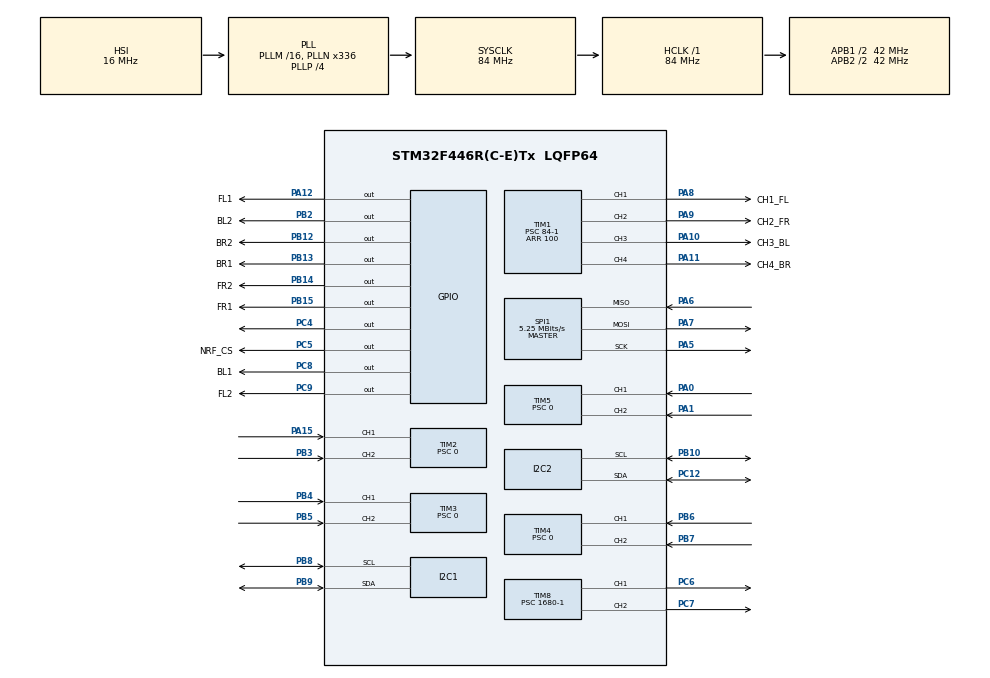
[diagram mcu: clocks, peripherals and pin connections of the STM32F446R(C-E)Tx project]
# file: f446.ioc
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Dma.I2C1_TX.7.Direction=DMA_MEMORY_TO_PERIPH
Dma.I2C1_TX.7.FIFOMode=DMA_FIFOMODE_DISABLE
Dma.I2C1_TX.7.Instance=DMA1_Stream6
Dma.I2C1_TX.7.MemDataAlignment=DMA_MDATAALIGN_BYTE
Dma.I2C1_TX.7.MemInc=DMA_MINC_ENABLE
Dma.I2C1_TX.7.Mode=DMA_NORMAL
Dma.I2C1_TX.7.PeriphDataAlignment=DMA_PDATAALIGN_BYTE
Dma.I2C1_TX.7.PeriphInc=DMA_PINC_DISABLE
Dma.I2C1_TX.7.Priority=DMA_PRIORITY_LOW
Dma.I2C2_TX.8.Direction=DMA_MEMORY_TO_PERIPH
Dma.I2C2_TX.8.FIFOMode=DMA_FIFOMODE_DISABLE
Dma.I2C2_TX.8.Instance=DMA1_Stream7
Dma.I2C2_TX.8.MemDataAlignment=DMA_MDATAALIGN_BYTE
Dma.I2C2_TX.8.MemInc=DMA_MINC_ENABLE
Dma.I2C2_TX.8.Mode=DMA_NORMAL
Dma.I2C2_TX.8.PeriphDataAlignment=DMA_PDATAALIGN_BYTE
Dma.I2C2_TX.8.PeriphInc=DMA_PINC_DISABLE
Dma.I2C2_TX.8.Priority=DMA_PRIORITY_LOW
Dma.Request0=TIM1_CH1
Dma.Request1=TIM1_CH2
Dma.Request2=TIM1_CH3
Dma.Request3=TIM1_CH4/TRIG/COM
Dma.Request4=SPI1_RX
Dma.Request5=SPI1_TX
Dma.Request6=TIM8_CH2
Dma.Request7=I2C1_TX
Dma.Request8=I2C2_TX
Dma.SPI1_RX.4.Direction=DMA_PERIPH_TO_MEMORY
Dma.SPI1_RX.4.FIFOMode=DMA_FIFOMODE_DISABLE
Dma.SPI1_RX.4.Instance=DMA2_Stream0
Dma.SPI1_RX.4.MemDataAlignment=DMA_MDATAALIGN_BYTE
Dma.SPI1_RX.4.MemInc=DMA_MINC_ENABLE
Dma.SPI1_RX.4.Mode=DMA_NORMAL
Dma.SPI1_RX.4.PeriphDataAlignment=DMA_PDATAALIGN_BYTE
Dma.SPI1_RX.4.PeriphInc=DMA_PINC_DISABLE
Dma.SPI1_RX.4.Priority=DMA_PRIORITY_LOW
Dma.SPI1_TX.5.Direction=DMA_MEMORY_TO_PERIPH
Dma.SPI1_TX.5.FIFOMode=DMA_FIFOMODE_DISABLE
Dma.SPI1_TX.5.Instance=DMA2_Stream5
Dma.SPI1_TX.5.MemDataAlignment=DMA_MDATAALIGN_BYTE
Dma.SPI1_TX.5.MemInc=DMA_MINC_ENABLE
Dma.SPI1_TX.5.Mode=DMA_NORMAL
Dma.SPI1_TX.5.PeriphDataAlignment=DMA_PDATAALIGN_BYTE
Dma.SPI1_TX.5.PeriphInc=DMA_PINC_DISABLE
Dma.SPI1_TX.5.Priority=DMA_PRIORITY_LOW
Dma.TIM1_CH1.0.Direction=DMA_MEMORY_TO_PERIPH
Dma.TIM1_CH1.0.FIFOMode=DMA_FIFOMODE_DISABLE
Dma.TIM1_CH1.0.Instance=DMA2_Stream1
Dma.TIM1_CH1.0.MemDataAlignment=DMA_MDATAALIGN_HALFWORD
Dma.TIM1_CH1.0.MemInc=DMA_MINC_ENABLE
Dma.TIM1_CH1.0.Mode=DMA_NORMAL
Dma.TIM1_CH1.0.PeriphDataAlignment=DMA_PDATAALIGN_HALFWORD
Dma.TIM1_CH1.0.PeriphInc=DMA_PINC_DISABLE
Dma.TIM1_CH1.0.Priority=DMA_PRIORITY_LOW
Dma.TIM1_CH2.1.Direction=DMA_MEMORY_TO_PERIPH
Dma.TIM1_CH2.1.FIFOMode=DMA_FIFOMODE_DISABLE
Dma.TIM1_CH2.1.Instance=DMA2_Stream2
Dma.TIM1_CH2.1.MemDataAlignment=DMA_MDATAALIGN_HALFWORD
Dma.TIM1_CH2.1.MemInc=DMA_MINC_ENABLE
Dma.TIM1_CH2.1.Mode=DMA_NORMAL
Dma.TIM1_CH2.1.PeriphDataAlignment=DMA_PDATAALIGN_HALFWORD
Dma.TIM1_CH2.1.PeriphInc=DMA_PINC_DISABLE
Dma.TIM1_CH2.1.Priority=DMA_PRIORITY_LOW
Dma.TIM1_CH3.2.Direction=DMA_MEMORY_TO_PERIPH
Dma.TIM1_CH3.2.FIFOMode=DMA_FIFOMODE_DISABLE
Dma.TIM1_CH3.2.Instance=DMA2_Stream6
Dma.TIM1_CH3.2.MemDataAlignment=DMA_MDATAALIGN_HALFWORD
Dma.TIM1_CH3.2.MemInc=DMA_MINC_ENABLE
Dma.TIM1_CH3.2.Mode=DMA_NORMAL
Dma.TIM1_CH3.2.PeriphDataAlignment=DMA_PDATAALIGN_HALFWORD
Dma.TIM1_CH3.2.PeriphInc=DMA_PINC_DISABLE
Dma.TIM1_CH3.2.Priority=DMA_PRIORITY_LOW
Dma.TIM1_CH4/TRIG/COM.3.Direction=DMA_MEMORY_TO_PERIPH
Dma.TIM1_CH4/TRIG/COM.3.FIFOMode=DMA_FIFOMODE_DISABLE
Dma.TIM1_CH4/TRIG/COM.3.Instance=DMA2_Stream4
Dma.TIM1_CH4/TRIG/COM.3.MemDataAlignment=DMA_MDATAALIGN_HALFWORD
Dma.TIM1_CH4/TRIG/COM.3.MemInc=DMA_MINC_ENABLE
Dma.TIM1_CH4/TRIG/COM.3.Mode=DMA_NORMAL
Dma.TIM1_CH4/TRIG/COM.3.PeriphDataAlignment=DMA_PDATAALIGN_HALFWORD
Dma.TIM1_CH4/TRIG/COM.3.PeriphInc=DMA_PINC_DISABLE
Dma.TIM1_CH4/TRIG/COM.3.Priority=DMA_PRIORITY_LOW
Dma.TIM8_CH2.6.Direction=DMA_MEMORY_TO_PERIPH
Dma.TIM8_CH2.6.FIFOMode=DMA_FIFOMODE_DISABLE
Dma.TIM8_CH2.6.Instance=DMA2_Stream3
Dma.TIM8_CH2.6.MemDataAlignment=DMA_MDATAALIGN_HALFWORD
Dma.TIM8_CH2.6.MemInc=DMA_MINC_ENABLE
Dma.TIM8_CH2.6.Mode=DMA_NORMAL
Dma.TIM8_CH2.6.PeriphDataAlignment=DMA_PDATAALIGN_HALFWORD
Dma.TIM8_CH2.6.PeriphInc=DMA_PINC_DISABLE
Dma.TIM8_CH2.6.Priority=DMA_PRIORITY_LOW
Mcu.Family=STM32F4
Mcu.Name=STM32F446R(C-E)Tx
Mcu.Package=LQFP64
NVIC.DMA1_Stream6_IRQn=true\:0\:0\:false\:false\:true\:false\:true
NVIC.DMA1_Stream7_IRQn=true\:0\:0\:false\:false\:true\:false\:true
NVIC.DMA2_Stream0_IRQn=true\:0\:0\:false\:false\:true\:false\:true
NVIC.DMA2_Stream1_IRQn=true\:0\:0\:false\:false\:true\:false\:true
NVIC.DMA2_Stream2_IRQn=true\:0\:0\:false\:false\:true\:false\:true
NVIC.DMA2_Stream3_IRQn=true\:0\:0\:false\:false\:true\:false\:true
NVIC.DMA2_Stream4_IRQn=true\:0\:0\:false\:false\:true\:false\:true
NVIC.DMA2_Stream5_IRQn=true\:0\:0\:false\:false\:true\:false\:true
NVIC.DMA2_Stream6_IRQn=true\:0\:0\:false\:false\:true\:false\:true
NVIC.I2C2_ER_IRQn=true\:0\:0\:false\:false\:true\:true\:true
NVIC.I2C2_EV_IRQn=true\:0\:0\:false\:false\:true\:true\:true
NVIC.PriorityGroup=NVIC_PRIORITYGROUP_0
NVIC.TIM5_IRQn=true\:0\:0\:false\:false\:true\:true\:true
PA0-WKUP.Signal=S_TIM5_CH1
PA1.Signal=S_TIM5_CH2
PA10.GPIO_Label=CH3_BL
PA10.Signal=S_TIM1_CH3
PA11.GPIO_Label=CH4_BR
PA11.Signal=S_TIM1_CH4
PA12.GPIO_Label=FL1
PA12.Signal=GPIO_Output
PA13.Mode=Serial_Wire
PA13.Signal=SYS_JTMS-SWDIO
PA14.Mode=Serial_Wire
PA14.Signal=SYS_JTCK-SWCLK
PA15.Signal=S_TIM2_CH1_ETR
PA5.Mode=Full_Duplex_Master
PA5.Signal=SPI1_SCK
PA6.Mode=Full_Duplex_Master
PA6.Signal=SPI1_MISO
PA7.Mode=Full_Duplex_Master
PA7.Signal=SPI1_MOSI
PA8.GPIO_Label=CH1_FL
PA8.Signal=S_TIM1_CH1
PA9.GPIO_Label=CH2_FR
PA9.Signal=S_TIM1_CH2
PB10.Mode=I2C
PB10.Signal=I2C2_SCL
PB12.GPIO_Label=BR2
PB12.Signal=GPIO_Output
PB13.GPIO_Label=BR1
PB13.Signal=GPIO_Output
PB14.GPIO_Label=FR2
PB14.Signal=GPIO_Output
PB15.GPIO_Label=FR1
PB15.Signal=GPIO_Output
PB2.GPIO_Label=BL2
PB2.Signal=GPIO_Output
PB3.Signal=S_TIM2_CH2
PB4.Signal=S_TIM3_CH1
PB5.Signal=S_TIM3_CH2
PB6.Signal=S_TIM4_CH1
PB7.Signal=S_TIM4_CH2
PB8.Mode=I2C
PB8.Signal=I2C1_SCL
PB9.Mode=I2C
PB9.Signal=I2C1_SDA
PC12.Mode=I2C
PC12.Signal=I2C2_SDA
PC4.Signal=GPIO_Output
PC5.GPIO_Label=NRF_CS
PC5.Signal=GPIO_Output
PC6.Signal=S_TIM8_CH1
PC7.Signal=S_TIM8_CH2
PC8.GPIO_Label=BL1
PC8.Signal=GPIO_Output
PC9.GPIO_Label=FL2
PC9.Signal=GPIO_Output
ProjectManager.HeapSize=0x200
ProjectManager.StackSize=0x400
ProjectManager.TargetToolchain=STM32CubeIDE
RCC.48MHZClocksFreq_Value=84000000
RCC.AHBFreq_Value=84000000
RCC.APB1CLKDivider=RCC_HCLK_DIV2
RCC.APB1Freq_Value=42000000
RCC.APB1TimFreq_Value=84000000
RCC.APB2CLKDivider=RCC_HCLK_DIV2
RCC.APB2Freq_Value=42000000
RCC.APB2TimFreq_Value=84000000
RCC.CortexFreq_Value=84000000
RCC.FLatency-AdvancedSettings=FLASH_LATENCY_2
RCC.HCLKFreq_Value=84000000
RCC.HSE_VALUE=8000000
RCC.HSI_VALUE=16000000
RCC.PLLN=336
RCC.PLLP=RCC_PLLP_DIV4
RCC.SYSCLKFreq_VALUE=84000000
RCC.SYSCLKSource=RCC_SYSCLKSOURCE_PLLCLK
RCC.USBFreq_Value=168000000
RCC.VCOOutputFreq_Value=336000000
SH.S_TIM1_CH1.0=TIM1_CH1,PWM Generation1 CH1
SH.S_TIM1_CH2.0=TIM1_CH2,PWM Generation2 CH2
SH.S_TIM1_CH3.0=TIM1_CH3,PWM Generation3 CH3
SH.S_TIM1_CH4.0=TIM1_CH4,PWM Generation4 CH4
SH.S_TIM2_CH1_ETR.0=TIM2_CH1,Encoder_Interface
SH.S_TIM2_CH2.0=TIM2_CH2,Encoder_Interface
SH.S_TIM3_CH1.0=TIM3_CH1,Encoder_Interface
SH.S_TIM3_CH2.0=TIM3_CH2,Encoder_Interface
SH.S_TIM4_CH1.0=TIM4_CH1,Encoder_Interface
SH.S_TIM4_CH2.0=TIM4_CH2,Encoder_Interface
SH.S_TIM5_CH1.0=TIM5_CH1,Encoder_Interface
SH.S_TIM5_CH2.0=TIM5_CH2,Encoder_Interface
SH.S_TIM8_CH1.0=TIM8_CH1,PWM Generation1 CH1
SH.S_TIM8_CH2.0=TIM8_CH2,PWM Generation2 CH2
SPI1.BaudRatePrescaler=SPI_BAUDRATEPRESCALER_8
SPI1.CalculateBaudRate=5.25 MBits/s
SPI1.Direction=SPI_DIRECTION_2LINES
SPI1.Mode=SPI_MODE_MASTER
SPI1.VirtualType=VM_MASTER
TIM1.Channel-PWM\ Generation1\ CH1=TIM_CHANNEL_1
TIM1.Channel-PWM\ Generation2\ CH2=TIM_CHANNEL_2
TIM1.Channel-PWM\ Generation3\ CH3=TIM_CHANNEL_3
TIM1.Channel-PWM\ Generation4\ CH4=TIM_CHANNEL_4
TIM1.Period=100
TIM1.Prescaler=84-1
TIM2.EncoderMode=TIM_ENCODERMODE_TI12
TIM2.IC1Filter=15
TIM2.IC2Filter=15
TIM2.Period=65535
TIM2.Prescaler=0
TIM3.EncoderMode=TIM_ENCODERMODE_TI12
TIM3.IC1Filter=15
TIM3.IC2Filter=15
TIM3.Prescaler=0
TIM4.EncoderMode=TIM_ENCODERMODE_TI12
TIM4.IC1Filter=15
TIM4.IC2Filter=15
TIM4.Prescaler=0
TIM5.EncoderMode=TIM_ENCODERMODE_TI12
TIM5.IC1Filter=15
TIM5.IC2Filter=15
TIM5.Period=65535
TIM5.Prescaler=0
TIM8.Channel-PWM\ Generation1\ CH1=TIM_CHANNEL_1
TIM8.Channel-PWM\ Generation2\ CH2=TIM_CHANNEL_2
TIM8.Period=1000-1
TIM8.Prescaler=1680-1
board=NUCLEO-F446RE

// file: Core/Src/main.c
/* USER CODE BEGIN Header */
/**
 ******************************************************************************
 * @file           : main.c
 * @brief          : Main program body
 ******************************************************************************
 * @attention
 *
 * Copyright (c) 2022 STMicroelectronics.
 * All rights reserved.
 *
 * This software is licensed under terms that can be found in the LICENSE file
 * in the root directory of this software component.
 * If no LICENSE file comes with this software, it is provided AS-IS.
 *
 ******************************************************************************
 */
/* USER CODE END Header */
#include "main.h"

/* USER CODE BEGIN Includes */
#include "NRF24L01.h"
#include "string.h"
#include "package.h"
#include "MotorControl.h"
#include "Kinematics_Mecanum.h"
#include "loop.h"
#include "Encoder.h"
#include "pid.h"
#include "mpu.h"
#include "servo.h"
#include "fonts.h"
#include "ssd1306.h"
#include "ssd1306_defines.h"
/* USER CODE END Includes */

I2C_HandleTypeDef hi2c1;
I2C_HandleTypeDef hi2c2;
DMA_HandleTypeDef hdma_i2c1_tx;
DMA_HandleTypeDef hdma_i2c2_tx;

SPI_HandleTypeDef hspi1;
DMA_HandleTypeDef hdma_spi1_rx;
DMA_HandleTypeDef hdma_spi1_tx;

TIM_HandleTypeDef htim1;
TIM_HandleTypeDef htim2;
TIM_HandleTypeDef htim3;
TIM_HandleTypeDef htim4;
TIM_HandleTypeDef htim5;
TIM_HandleTypeDef htim8;
DMA_HandleTypeDef hdma_tim1_ch1;
DMA_HandleTypeDef hdma_tim1_ch2;
DMA_HandleTypeDef hdma_tim1_ch3;
DMA_HandleTypeDef hdma_tim1_ch4_trig_com;
DMA_HandleTypeDef hdma_tim8_ch2;

/* USER CODE BEGIN PV */
uint16_t cnt = 0;
uint16_t prev = 0;
//__IO uint16_t Loop_1000msTime = 0;
__IO uint16_t Loop_500msTime = 0;
__IO uint16_t Loop_100msTime = 0;
__IO uint16_t Loop_60msTime = 0;
__IO uint16_t Loop_10msTime = 0;
__IO uint16_t Loop_5msTime = 0;

//__IO uint16_t TIM5_OverflowCount;

IncPID_Struct PID_M1; //鍒涘缓M1鐢垫満PID缁撴瀯浣擄拷?锟芥暟
IncPID_Struct PID_M2; //鍒涘缓M2鐢垫満PID缁撴瀯浣擄拷?锟芥暟
IncPID_Struct PID_M3; //鍒涘缓M3鐢垫満PID缁撴瀯浣擄拷?锟芥暟
IncPID_Struct PID_M4; //鍒涘缓M4鐢垫満PID缁撴瀯浣擄拷?锟芥暟

MPU6050_t MPU_data;
double mpu_x;
double mpu_y;
double mpu_z;
uint16_t auto_servo_reset = 0;//0 will reset servo, 1 not reset servo
/* USER CODE END PV */

void SystemClock_Config(void);
static void MX_GPIO_Init(void);
static void MX_SPI1_Init(void);
static void MX_DMA_Init(void);
static void MX_TIM1_Init(void);
static void MX_I2C1_Init(void);
static void MX_I2C2_Init(void);
static void MX_TIM2_Init(void);
static void MX_TIM3_Init(void);
static void MX_TIM4_Init(void);
static void MX_TIM5_Init(void);
static void MX_TIM8_Init(void);

/* USER CODE BEGIN 0 */
uint32_t ADC_Result[4];
uint8_t RxAddress[] = {0x10, 0x22, 0x33, 0x44, 0x55};
// uint8_t RxData[32];
Package RxData;
uint8_t data[50];
uint16_t x1; // 2200
uint16_t y1;
uint16_t x2;
uint16_t y2;
uint16_t temp;
uint8_t state1;
uint8_t state2;
VelControl_Struct wheels_rpm;
Encoder_Struct motor1; // FL
Encoder_Struct motor2; // BL
Encoder_Struct motor3; // FR
Encoder_Struct motor4; // BR
float back_left_real_rpm = 0;
float front_left_real_rpm = 0;
float back_right_real_rpm = 0;
float front_right_real_rpm = 0;

uint16_t update_duty_M1 = 0;
uint16_t update_duty_M2 = 0;
uint16_t update_duty_M3 = 0;
uint16_t update_duty_M4 = 0;

IncPID_Struct PID_M1; //鍒涘缓M1鐢垫満PID缁撴瀯浣擄拷?锟芥暟
IncPID_Struct PID_M2; //鍒涘缓M2鐢垫満PID缁撴瀯浣擄拷?锟芥暟
IncPID_Struct PID_M3; //鍒涘缓M3鐢垫満PID缁撴瀯浣擄拷?锟芥暟
IncPID_Struct PID_M4; //鍒涘缓M4鐢垫満PID缁撴瀯浣擄拷?锟芥暟
float update_M1 = 0;
float update_M2 = 0;
float update_M3 = 0;
float update_M4 = 0;

/* USER CODE END 0 */

int main(void)
{

  /* MCU Configuration--------------------------------------------------------*/

  /* Reset of all peripherals, Initializes the Flash interface and the Systick. */
  HAL_Init();

  /* Configure the system clock */
  SystemClock_Config();

  /* USER CODE BEGIN SysInit */
    HAL_SYSTICK_Config(HAL_RCC_GetHCLKFreq() / 1000);

    /**Configure the Systick
     */
    HAL_SYSTICK_CLKSourceConfig(SYSTICK_CLKSOURCE_HCLK);

    /* SysTick_IRQn interrupt configuration */
    HAL_NVIC_SetPriority(SysTick_IRQn, 0, 0);
  /* USER CODE END SysInit */

  /* Initialize all configured peripherals */
  MX_GPIO_Init();
  MX_SPI1_Init();
  MX_DMA_Init();
  MX_TIM1_Init();
  MX_I2C1_Init();
  MX_I2C2_Init();
  MX_TIM2_Init();
  MX_TIM3_Init();
  MX_TIM4_Init();
  MX_TIM5_Init();
  MX_TIM8_Init();
  /* USER CODE BEGIN 2 */
    NRF24_Init();
    NRF24_RxMode(RxAddress, 10);
    HAL_TIM_Encoder_Start(&htim5, TIM_CHANNEL_ALL);
    HAL_TIM_Encoder_Start(&htim2, TIM_CHANNEL_ALL);
    HAL_TIM_Encoder_Start(&htim3, TIM_CHANNEL_ALL);
    HAL_TIM_Encoder_Start(&htim4, TIM_CHANNEL_ALL);
    Encoder_Struct_Init(&motor1, 2); // FL
    Encoder_Struct_Init(&motor2, 3); // FR
    Encoder_Struct_Init(&motor3, 5); // BL
    Encoder_Struct_Init(&motor4, 4); // BR
    //while (MPU6050_Init(&hi2c1) == 1);
    MPU6050_Init(&hi2c1);
    HAL_Delay(500);
    get_Zero_Offset(&hi2c1, &MPU_data);

    // Initializes OLED
    ssd1306_Init();
    ssd1306_Clear();
    ssd1306_SetColor(White);
  /* USER CODE END 2 */

  /* Infinite loop */
    while (1)
      {

      /* USER CODE BEGIN 3 */
		  char bl[15];
		  sprintf(bl, "BL:%.2f", back_left_real_rpm);
		  char br[15];
		  sprintf(br, "BR:%.2f", back_right_real_rpm);
		  char fl[15];
		  sprintf(fl, "FL:%.2f", front_left_real_rpm);
		  char fr[15];
		  sprintf(fr, "FR:%.2f", front_right_real_rpm);
          ssd1306_SetCursor(3, 5);
          ssd1306_WriteString(bl, Font_7x10);
          ssd1306_SetCursor(3, 20);
          ssd1306_WriteString(br, Font_7x10);
          ssd1306_SetCursor(3, 35);
          ssd1306_WriteString(fl, Font_7x10);
          ssd1306_SetCursor(3, 50);
          ssd1306_WriteString(fr, Font_7x10);
          ssd1306_UpdateScreen();

          if (isDataAvailable(2) == 1)
          {
              NRF24_Receive(&RxData);
              x1 = RxData.x1 & 4095;
              y1 = RxData.y1 & 4095;
              x2 = RxData.y2 & 4095;
              y2 = RxData.x2 & 4095;
              state1 = RxData.state1;
              state2 = RxData.state2;
          }

          MPU6050_Read_All(&hi2c1, &MPU_data);
          get_Yaw(&hi2c1, &MPU_data);
          mpu_x = MPU_data.KalmanAngleX;
          mpu_y = MPU_data.KalmanAngleY;
          mpu_z = MPU_data.KalmanAngleZ;
          HAL_Delay(50);

          if (state1 == 1 && state2 == 1)
          {
              if (!Loop_100msTime)
              {
                  wheels_rpm = kenematics_mecanum_inverse(x1, y1, x2);
                  HAL_TIM_PWM_Start(&htim1, TIM_CHANNEL_2);
                  HAL_TIM_PWM_Start(&htim1, TIM_CHANNEL_4);
                  HAL_TIM_PWM_Start(&htim1, TIM_CHANNEL_1);
                  HAL_TIM_PWM_Start(&htim1, TIM_CHANNEL_3);

                  Encoder_UpdataValue(&motor3, 1);
                  Encoder_UpdataValue(&motor1, 1);
                  Encoder_UpdataValue(&motor2, 1);
                  Encoder_UpdataValue(&motor4, -1);
                  back_left_real_rpm = (float)motor3.Capture_D_Value * (600.0f / 1320.0f);
                  front_left_real_rpm = (float)motor1.Capture_D_Value * (600.0f / 1320.0f);
                  back_right_real_rpm = (float)motor4.Capture_D_Value * (600.0f / 1320.0f);
                  front_right_real_rpm = (float)motor2.Capture_D_Value * (600.0f / 1320.0f);
                  front_right_real_rpm *= -1;// wrong wiring

                  Loop_100msTime = 100;
                  auto_servo_reset = 0;
              }
          }
          else if(state1 == 1 && state2 == 0)
          {

              manual_adjust_servo_position_x(&htim8, x2);
              manual_adjust_servo_position_z(&htim8, y2);
              HAL_TIM_PWM_Start(&htim8, TIM_CHANNEL_2);
              HAL_TIM_PWM_Start(&htim8, TIM_CHANNEL_1);
              if(!Loop_100msTime){
					wheels_rpm = kenematics_mecanum_inverse(x1, y1, 2000);
					HAL_TIM_PWM_Start(&htim1, TIM_CHANNEL_2);
					HAL_TIM_PWM_Start(&htim1, TIM_CHANNEL_4);
					HAL_TIM_PWM_Start(&htim1, TIM_CHANNEL_1);
					HAL_TIM_PWM_Start(&htim1, TIM_CHANNEL_3);

					Encoder_UpdataValue(&motor3, 1);
					Encoder_UpdataValue(&motor1, 1);
					Encoder_UpdataValue(&motor2, 1);
					Encoder_UpdataValue(&motor4, 1);
					back_left_real_rpm = (float)motor3.Capture_D_Value * (6000.0f / 1320.0f);
					front_left_real_rpm = (float)motor1.Capture_D_Value * (6000.0f / 1320.0f);
					back_right_real_rpm = (float)motor4.Capture_D_Value * (6000.0f / 1320.0f);
					front_right_real_rpm = (float)motor2.Capture_D_Value * (6000.0f / 1320.0f);
					Loop_100msTime = 100;
					auto_servo_reset = 0;

              }

          }else if(state1 ==0 && state2 == 1){
        	  if (!Loop_100msTime)
				{

					wheels_rpm = kenematics_mecanum_inverse(x1, y1, x2);
					HAL_TIM_PWM_Start(&htim1, TIM_CHANNEL_2);
					HAL_TIM_PWM_Start(&htim1, TIM_CHANNEL_4);
					HAL_TIM_PWM_Start(&htim1, TIM_CHANNEL_1);
					HAL_TIM_PWM_Start(&htim1, TIM_CHANNEL_3);

					Encoder_UpdataValue(&motor3, 1);
					Encoder_UpdataValue(&motor1, 1);
					Encoder_UpdataValue(&motor2, 1);
					Encoder_UpdataValue(&motor4, -1);
					back_left_real_rpm = (float)motor3.Capture_D_Value * (600.0f / 1320.0f);
					front_left_real_rpm = (float)motor1.Capture_D_Value * (600.0f / 1320.0f);
					back_right_real_rpm = (float)motor4.Capture_D_Value * (600.0f / 1320.0f);
					front_right_real_rpm = (float)motor2.Capture_D_Value * (600.0f / 1320.0f);
					front_right_real_rpm *= -1;// wrong wiring

					if(auto_servo_reset == 0)
					{
						MPU_data.KalmanAngleZ = 0;
						auto_servo_reset = 1;
					}

					HAL_TIM_PWM_Start(&htim8, TIM_CHANNEL_2);
					HAL_TIM_PWM_Start(&htim8, TIM_CHANNEL_1);
					adjust_servo_position_x(&htim8, &MPU_data);
					adjust_servo_position_z(&htim8, &MPU_data);

					Loop_100msTime = 100;
				}
          }
      }
  /* USER CODE END 3 */
}

void SystemClock_Config(void)
{
  RCC_OscInitTypeDef RCC_OscInitStruct = {0};
  RCC_ClkInitTypeDef RCC_ClkInitStruct = {0};

  /** Configure the main internal regulator output voltage
  */
  __HAL_RCC_PWR_CLK_ENABLE();
  __HAL_PWR_VOLTAGESCALING_CONFIG(PWR_REGULATOR_VOLTAGE_SCALE3);
  /** Initializes the RCC Oscillators according to the specified parameters
  * in the RCC_OscInitTypeDef structure.
  */
  RCC_OscInitStruct.OscillatorType = RCC_OSCILLATORTYPE_HSI;
  RCC_OscInitStruct.HSIState = RCC_HSI_ON;
  RCC_OscInitStruct.HSICalibrationValue = RCC_HSICALIBRATION_DEFAULT;
  RCC_OscInitStruct.PLL.PLLState = RCC_PLL_ON;
  RCC_OscInitStruct.PLL.PLLSource = RCC_PLLSOURCE_HSI;
  RCC_OscInitStruct.PLL.PLLM = 16;
  RCC_OscInitStruct.PLL.PLLN = 336;
  RCC_OscInitStruct.PLL.PLLP = RCC_PLLP_DIV4;
  RCC_OscInitStruct.PLL.PLLQ = 2;
  RCC_OscInitStruct.PLL.PLLR = 2;
  if (HAL_RCC_OscConfig(&RCC_OscInitStruct) != HAL_OK)
  {
    Error_Handler();
  }
  /** Initializes the CPU, AHB and APB buses clocks
  */
  RCC_ClkInitStruct.ClockType = RCC_CLOCKTYPE_HCLK|RCC_CLOCKTYPE_SYSCLK
                              |RCC_CLOCKTYPE_PCLK1|RCC_CLOCKTYPE_PCLK2;
  RCC_ClkInitStruct.SYSCLKSource = RCC_SYSCLKSOURCE_PLLCLK;
  RCC_ClkInitStruct.AHBCLKDivider = RCC_SYSCLK_DIV1;
  RCC_ClkInitStruct.APB1CLKDivider = RCC_HCLK_DIV2;
  RCC_ClkInitStruct.APB2CLKDivider = RCC_HCLK_DIV2;

  if (HAL_RCC_ClockConfig(&RCC_ClkInitStruct, FLASH_LATENCY_2) != HAL_OK)
  {
    Error_Handler();
  }
}

static void MX_I2C1_Init(void)
{

  hi2c1.Instance = I2C1;
  hi2c1.Init.ClockSpeed = 100000;
  hi2c1.Init.DutyCycle = I2C_DUTYCYCLE_2;
  hi2c1.Init.OwnAddress1 = 0;
  hi2c1.Init.AddressingMode = I2C_ADDRESSINGMODE_7BIT;
  hi2c1.Init.DualAddressMode = I2C_DUALADDRESS_DISABLE;
  hi2c1.Init.OwnAddress2 = 0;
  hi2c1.Init.GeneralCallMode = I2C_GENERALCALL_DISABLE;
  hi2c1.Init.NoStretchMode = I2C_NOSTRETCH_DISABLE;
  if (HAL_I2C_Init(&hi2c1) != HAL_OK)
  {
    Error_Handler();
  }

}

static void MX_I2C2_Init(void)
{

  hi2c2.Instance = I2C2;
  hi2c2.Init.ClockSpeed = 100000;
  hi2c2.Init.DutyCycle = I2C_DUTYCYCLE_2;
  hi2c2.Init.OwnAddress1 = 0;
  hi2c2.Init.AddressingMode = I2C_ADDRESSINGMODE_7BIT;
  hi2c2.Init.DualAddressMode = I2C_DUALADDRESS_DISABLE;
  hi2c2.Init.OwnAddress2 = 0;
  hi2c2.Init.GeneralCallMode = I2C_GENERALCALL_DISABLE;
  hi2c2.Init.NoStretchMode = I2C_NOSTRETCH_DISABLE;
  if (HAL_I2C_Init(&hi2c2) != HAL_OK)
  {
    Error_Handler();
  }

}

static void MX_SPI1_Init(void)
{

  /* SPI1 parameter configuration*/
  hspi1.Instance = SPI1;
  hspi1.Init.Mode = SPI_MODE_MASTER;
  hspi1.Init.Direction = SPI_DIRECTION_2LINES;
  hspi1.Init.DataSize = SPI_DATASIZE_8BIT;
  hspi1.Init.CLKPolarity = SPI_POLARITY_LOW;
  hspi1.Init.CLKPhase = SPI_PHASE_1EDGE;
  hspi1.Init.NSS = SPI_NSS_SOFT;
  hspi1.Init.BaudRatePrescaler = SPI_BAUDRATEPRESCALER_8;
  hspi1.Init.FirstBit = SPI_FIRSTBIT_MSB;
  hspi1.Init.TIMode = SPI_TIMODE_DISABLE;
  hspi1.Init.CRCCalculation = SPI_CRCCALCULATION_DISABLE;
  hspi1.Init.CRCPolynomial = 10;
  if (HAL_SPI_Init(&hspi1) != HAL_OK)
  {
    Error_Handler();
  }

}

static void MX_TIM1_Init(void)
{

  TIM_MasterConfigTypeDef sMasterConfig = {0};
  TIM_OC_InitTypeDef sConfigOC = {0};
  TIM_BreakDeadTimeConfigTypeDef sBreakDeadTimeConfig = {0};

  htim1.Instance = TIM1;
  htim1.Init.Prescaler = 84-1;
  htim1.Init.CounterMode = TIM_COUNTERMODE_UP;
  htim1.Init.Period = 100;
  htim1.Init.ClockDivision = TIM_CLOCKDIVISION_DIV1;
  htim1.Init.RepetitionCounter = 0;
  htim1.Init.AutoReloadPreload = TIM_AUTORELOAD_PRELOAD_DISABLE;
  if (HAL_TIM_PWM_Init(&htim1) != HAL_OK)
  {
    Error_Handler();
  }
  sMasterConfig.MasterOutputTrigger = TIM_TRGO_RESET;
  sMasterConfig.MasterSlaveMode = TIM_MASTERSLAVEMODE_DISABLE;
  if (HAL_TIMEx_MasterConfigSynchronization(&htim1, &sMasterConfig) != HAL_OK)
  {
    Error_Handler();
  }
  sConfigOC.OCMode = TIM_OCMODE_PWM1;
  sConfigOC.Pulse = 0;
  sConfigOC.OCPolarity = TIM_OCPOLARITY_HIGH;
  sConfigOC.OCNPolarity = TIM_OCNPOLARITY_HIGH;
  sConfigOC.OCFastMode = TIM_OCFAST_DISABLE;
  sConfigOC.OCIdleState = TIM_OCIDLESTATE_RESET;
  sConfigOC.OCNIdleState = TIM_OCNIDLESTATE_RESET;
  if (HAL_TIM_PWM_ConfigChannel(&htim1, &sConfigOC, TIM_CHANNEL_1) != HAL_OK)
  {
    Error_Handler();
  }
  if (HAL_TIM_PWM_ConfigChannel(&htim1, &sConfigOC, TIM_CHANNEL_2) != HAL_OK)
  {
    Error_Handler();
  }
  if (HAL_TIM_PWM_ConfigChannel(&htim1, &sConfigOC, TIM_CHANNEL_3) != HAL_OK)
  {
    Error_Handler();
  }
  if (HAL_TIM_PWM_ConfigChannel(&htim1, &sConfigOC, TIM_CHANNEL_4) != HAL_OK)
  {
    Error_Handler();
  }
  sBreakDeadTimeConfig.OffStateRunMode = TIM_OSSR_DISABLE;
  sBreakDeadTimeConfig.OffStateIDLEMode = TIM_OSSI_DISABLE;
  sBreakDeadTimeConfig.LockLevel = TIM_LOCKLEVEL_OFF;
  sBreakDeadTimeConfig.DeadTime = 0;
  sBreakDeadTimeConfig.BreakState = TIM_BREAK_DISABLE;
  sBreakDeadTimeConfig.BreakPolarity = TIM_BREAKPOLARITY_HIGH;
  sBreakDeadTimeConfig.AutomaticOutput = TIM_AUTOMATICOUTPUT_DISABLE;
  if (HAL_TIMEx_ConfigBreakDeadTime(&htim1, &sBreakDeadTimeConfig) != HAL_OK)
  {
    Error_Handler();
  }
  HAL_TIM_MspPostInit(&htim1);

}

static void MX_TIM2_Init(void)
{

  TIM_Encoder_InitTypeDef sConfig = {0};
  TIM_MasterConfigTypeDef sMasterConfig = {0};

  htim2.Instance = TIM2;
  htim2.Init.Prescaler = 0;
  htim2.Init.CounterMode = TIM_COUNTERMODE_UP;
  htim2.Init.Period = 65535;
  htim2.Init.ClockDivision = TIM_CLOCKDIVISION_DIV1;
  htim2.Init.AutoReloadPreload = TIM_AUTORELOAD_PRELOAD_DISABLE;
  sConfig.EncoderMode = TIM_ENCODERMODE_TI12;
  sConfig.IC1Polarity = TIM_ICPOLARITY_RISING;
  sConfig.IC1Selection = TIM_ICSELECTION_DIRECTTI;
  sConfig.IC1Prescaler = TIM_ICPSC_DIV1;
  sConfig.IC1Filter = 15;
  sConfig.IC2Polarity = TIM_ICPOLARITY_RISING;
  sConfig.IC2Selection = TIM_ICSELECTION_DIRECTTI;
  sConfig.IC2Prescaler = TIM_ICPSC_DIV1;
  sConfig.IC2Filter = 15;
  if (HAL_TIM_Encoder_Init(&htim2, &sConfig) != HAL_OK)
  {
    Error_Handler();
  }
  sMasterConfig.MasterOutputTrigger = TIM_TRGO_RESET;
  sMasterConfig.MasterSlaveMode = TIM_MASTERSLAVEMODE_DISABLE;
  if (HAL_TIMEx_MasterConfigSynchronization(&htim2, &sMasterConfig) != HAL_OK)
  {
    Error_Handler();
  }
  /* USER CODE BEGIN TIM2_Init 2 */
    __HAL_TIM_CLEAR_IT(&htim2, TIM_IT_UPDATE);
    __HAL_TIM_ENABLE_IT(&htim2, TIM_IT_UPDATE);
  /* USER CODE END TIM2_Init 2 */

}

static void MX_TIM3_Init(void)
{

  TIM_Encoder_InitTypeDef sConfig = {0};
  TIM_MasterConfigTypeDef sMasterConfig = {0};

  htim3.Instance = TIM3;
  htim3.Init.Prescaler = 0;
  htim3.Init.CounterMode = TIM_COUNTERMODE_UP;
  htim3.Init.Period = 65535;
  htim3.Init.ClockDivision = TIM_CLOCKDIVISION_DIV1;
  htim3.Init.AutoReloadPreload = TIM_AUTORELOAD_PRELOAD_DISABLE;
  sConfig.EncoderMode = TIM_ENCODERMODE_TI12;
  sConfig.IC1Polarity = TIM_ICPOLARITY_RISING;
  sConfig.IC1Selection = TIM_ICSELECTION_DIRECTTI;
  sConfig.IC1Prescaler = TIM_ICPSC_DIV1;
  sConfig.IC1Filter = 15;
  sConfig.IC2Polarity = TIM_ICPOLARITY_RISING;
  sConfig.IC2Selection = TIM_ICSELECTION_DIRECTTI;
  sConfig.IC2Prescaler = TIM_ICPSC_DIV1;
  sConfig.IC2Filter = 15;
  if (HAL_TIM_Encoder_Init(&htim3, &sConfig) != HAL_OK)
  {
    Error_Handler();
  }
  sMasterConfig.MasterOutputTrigger = TIM_TRGO_RESET;
  sMasterConfig.MasterSlaveMode = TIM_MASTERSLAVEMODE_DISABLE;
  if (HAL_TIMEx_MasterConfigSynchronization(&htim3, &sMasterConfig) != HAL_OK)
  {
    Error_Handler();
  }
  /* USER CODE BEGIN TIM3_Init 2 */
    __HAL_TIM_CLEAR_IT(&htim3, TIM_IT_UPDATE);
    __HAL_TIM_ENABLE_IT(&htim3, TIM_IT_UPDATE);
  /* USER CODE END TIM3_Init 2 */

}

static void MX_TIM4_Init(void)
{

  TIM_Encoder_InitTypeDef sConfig = {0};
  TIM_MasterConfigTypeDef sMasterConfig = {0};

  htim4.Instance = TIM4;
  htim4.Init.Prescaler = 0;
  htim4.Init.CounterMode = TIM_COUNTERMODE_UP;
  htim4.Init.Period = 65535;
  htim4.Init.ClockDivision = TIM_CLOCKDIVISION_DIV1;
  htim4.Init.AutoReloadPreload = TIM_AUTORELOAD_PRELOAD_DISABLE;
  sConfig.EncoderMode = TIM_ENCODERMODE_TI12;
  sConfig.IC1Polarity = TIM_ICPOLARITY_RISING;
  sConfig.IC1Selection = TIM_ICSELECTION_DIRECTTI;
  sConfig.IC1Prescaler = TIM_ICPSC_DIV1;
  sConfig.IC1Filter = 15;
  sConfig.IC2Polarity = TIM_ICPOLARITY_RISING;
  sConfig.IC2Selection = TIM_ICSELECTION_DIRECTTI;
  sConfig.IC2Prescaler = TIM_ICPSC_DIV1;
  sConfig.IC2Filter = 15;
  if (HAL_TIM_Encoder_Init(&htim4, &sConfig) != HAL_OK)
  {
    Error_Handler();
  }
  sMasterConfig.MasterOutputTrigger = TIM_TRGO_RESET;
  sMasterConfig.MasterSlaveMode = TIM_MASTERSLAVEMODE_DISABLE;
  if (HAL_TIMEx_MasterConfigSynchronization(&htim4, &sMasterConfig) != HAL_OK)
  {
    Error_Handler();
  }
  /* USER CODE BEGIN TIM4_Init 2 */
    __HAL_TIM_CLEAR_IT(&htim4, TIM_IT_UPDATE);
    __HAL_TIM_ENABLE_IT(&htim4, TIM_IT_UPDATE);
  /* USER CODE END TIM4_Init 2 */

}

static void MX_TIM5_Init(void)
{

  TIM_Encoder_InitTypeDef sConfig = {0};
  TIM_MasterConfigTypeDef sMasterConfig = {0};

  htim5.Instance = TIM5;
  htim5.Init.Prescaler = 0;
  htim5.Init.CounterMode = TIM_COUNTERMODE_UP;
  htim5.Init.Period = 65535;
  htim5.Init.ClockDivision = TIM_CLOCKDIVISION_DIV1;
  htim5.Init.AutoReloadPreload = TIM_AUTORELOAD_PRELOAD_DISABLE;
  sConfig.EncoderMode = TIM_ENCODERMODE_TI12;
  sConfig.IC1Polarity = TIM_ICPOLARITY_RISING;
  sConfig.IC1Selection = TIM_ICSELECTION_DIRECTTI;
  sConfig.IC1Prescaler = TIM_ICPSC_DIV1;
  sConfig.IC1Filter = 15;
  sConfig.IC2Polarity = TIM_ICPOLARITY_RISING;
  sConfig.IC2Selection = TIM_ICSELECTION_DIRECTTI;
  sConfig.IC2Prescaler = TIM_ICPSC_DIV1;
  sConfig.IC2Filter = 15;
  if (HAL_TIM_Encoder_Init(&htim5, &sConfig) != HAL_OK)
  {
    Error_Handler();
  }
  sMasterConfig.MasterOutputTrigger = TIM_TRGO_RESET;
  sMasterConfig.MasterSlaveMode = TIM_MASTERSLAVEMODE_DISABLE;
  if (HAL_TIMEx_MasterConfigSynchronization(&htim5, &sMasterConfig) != HAL_OK)
  {
    Error_Handler();
  }
  /* USER CODE BEGIN TIM5_Init 2 */
    __HAL_TIM_CLEAR_IT(&htim5, TIM_IT_UPDATE);
    __HAL_TIM_ENABLE_IT(&htim5, TIM_IT_UPDATE);

  /* USER CODE END TIM5_Init 2 */

}

static void MX_TIM8_Init(void)
{

  TIM_MasterConfigTypeDef sMasterConfig = {0};
  TIM_OC_InitTypeDef sConfigOC = {0};
  TIM_BreakDeadTimeConfigTypeDef sBreakDeadTimeConfig = {0};

  htim8.Instance = TIM8;
  htim8.Init.Prescaler = 1680-1;
  htim8.Init.CounterMode = TIM_COUNTERMODE_UP;
  htim8.Init.Period = 1000-1;
  htim8.Init.ClockDivision = TIM_CLOCKDIVISION_DIV1;
  htim8.Init.RepetitionCounter = 0;
  htim8.Init.AutoReloadPreload = TIM_AUTORELOAD_PRELOAD_DISABLE;
  if (HAL_TIM_PWM_Init(&htim8) != HAL_OK)
  {
    Error_Handler();
  }
  sMasterConfig.MasterOutputTrigger = TIM_TRGO_RESET;
  sMasterConfig.MasterSlaveMode = TIM_MASTERSLAVEMODE_DISABLE;
  if (HAL_TIMEx_MasterConfigSynchronization(&htim8, &sMasterConfig) != HAL_OK)
  {
    Error_Handler();
  }
  sConfigOC.OCMode = TIM_OCMODE_PWM1;
  sConfigOC.Pulse = 0;
  sConfigOC.OCPolarity = TIM_OCPOLARITY_HIGH;
  sConfigOC.OCNPolarity = TIM_OCNPOLARITY_HIGH;
  sConfigOC.OCFastMode = TIM_OCFAST_DISABLE;
  sConfigOC.OCIdleState = TIM_OCIDLESTATE_RESET;
  sConfigOC.OCNIdleState = TIM_OCNIDLESTATE_RESET;
  if (HAL_TIM_PWM_ConfigChannel(&htim8, &sConfigOC, TIM_CHANNEL_1) != HAL_OK)
  {
    Error_Handler();
  }
  if (HAL_TIM_PWM_ConfigChannel(&htim8, &sConfigOC, TIM_CHANNEL_2) != HAL_OK)
  {
    Error_Handler();
  }
  sBreakDeadTimeConfig.OffStateRunMode = TIM_OSSR_DISABLE;
  sBreakDeadTimeConfig.OffStateIDLEMode = TIM_OSSI_DISABLE;
  sBreakDeadTimeConfig.LockLevel = TIM_LOCKLEVEL_OFF;
  sBreakDeadTimeConfig.DeadTime = 0;
  sBreakDeadTimeConfig.BreakState = TIM_BREAK_DISABLE;
  sBreakDeadTimeConfig.BreakPolarity = TIM_BREAKPOLARITY_HIGH;
  sBreakDeadTimeConfig.AutomaticOutput = TIM_AUTOMATICOUTPUT_DISABLE;
  if (HAL_TIMEx_ConfigBreakDeadTime(&htim8, &sBreakDeadTimeConfig) != HAL_OK)
  {
    Error_Handler();
  }
  HAL_TIM_MspPostInit(&htim8);

}

static void MX_DMA_Init(void)
{

  /* DMA controller clock enable */
  __HAL_RCC_DMA2_CLK_ENABLE();
  __HAL_RCC_DMA1_CLK_ENABLE();

  /* DMA interrupt init */
  /* DMA1_Stream6_IRQn interrupt configuration */
  HAL_NVIC_SetPriority(DMA1_Stream6_IRQn, 0, 0);
  HAL_NVIC_EnableIRQ(DMA1_Stream6_IRQn);
  /* DMA1_Stream7_IRQn interrupt configuration */
  HAL_NVIC_SetPriority(DMA1_Stream7_IRQn, 0, 0);
  HAL_NVIC_EnableIRQ(DMA1_Stream7_IRQn);
  /* DMA2_Stream0_IRQn interrupt configuration */
  HAL_NVIC_SetPriority(DMA2_Stream0_IRQn, 0, 0);
  HAL_NVIC_EnableIRQ(DMA2_Stream0_IRQn);
  /* DMA2_Stream1_IRQn interrupt configuration */
  HAL_NVIC_SetPriority(DMA2_Stream1_IRQn, 0, 0);
  HAL_NVIC_EnableIRQ(DMA2_Stream1_IRQn);
  /* DMA2_Stream2_IRQn interrupt configuration */
  HAL_NVIC_SetPriority(DMA2_Stream2_IRQn, 0, 0);
  HAL_NVIC_EnableIRQ(DMA2_Stream2_IRQn);
  /* DMA2_Stream3_IRQn interrupt configuration */
  HAL_NVIC_SetPriority(DMA2_Stream3_IRQn, 0, 0);
  HAL_NVIC_EnableIRQ(DMA2_Stream3_IRQn);
  /* DMA2_Stream4_IRQn interrupt configuration */
  HAL_NVIC_SetPriority(DMA2_Stream4_IRQn, 0, 0);
  HAL_NVIC_EnableIRQ(DMA2_Stream4_IRQn);
  /* DMA2_Stream5_IRQn interrupt configuration */
  HAL_NVIC_SetPriority(DMA2_Stream5_IRQn, 0, 0);
  HAL_NVIC_EnableIRQ(DMA2_Stream5_IRQn);
  /* DMA2_Stream6_IRQn interrupt configuration */
  HAL_NVIC_SetPriority(DMA2_Stream6_IRQn, 0, 0);
  HAL_NVIC_EnableIRQ(DMA2_Stream6_IRQn);

}

static void MX_GPIO_Init(void)
{
  GPIO_InitTypeDef GPIO_InitStruct = {0};

  /* GPIO Ports Clock Enable */
  __HAL_RCC_GPIOA_CLK_ENABLE();
  __HAL_RCC_GPIOC_CLK_ENABLE();
  __HAL_RCC_GPIOB_CLK_ENABLE();

  /*Configure GPIO pin Output Level */
  HAL_GPIO_WritePin(GPIOC, GPIO_PIN_4|NRF_CS_Pin|BL1_Pin|FL2_Pin, GPIO_PIN_RESET);

  /*Configure GPIO pin Output Level */
  HAL_GPIO_WritePin(GPIOB, BL2_Pin|BR2_Pin|BR1_Pin|FR2_Pin
                          |FR1_Pin, GPIO_PIN_RESET);

  /*Configure GPIO pin Output Level */
  HAL_GPIO_WritePin(FL1_GPIO_Port, FL1_Pin, GPIO_PIN_RESET);

  /*Configure GPIO pins : PC4 NRF_CS_Pin BL1_Pin FL2_Pin */
  GPIO_InitStruct.Pin = GPIO_PIN_4|NRF_CS_Pin|BL1_Pin|FL2_Pin;
  GPIO_InitStruct.Mode = GPIO_MODE_OUTPUT_PP;
  GPIO_InitStruct.Pull = GPIO_NOPULL;
  GPIO_InitStruct.Speed = GPIO_SPEED_FREQ_LOW;
  HAL_GPIO_Init(GPIOC, &GPIO_InitStruct);

  /*Configure GPIO pins : BL2_Pin BR2_Pin BR1_Pin FR2_Pin
                           FR1_Pin */
  GPIO_InitStruct.Pin = BL2_Pin|BR2_Pin|BR1_Pin|FR2_Pin
                          |FR1_Pin;
  GPIO_InitStruct.Mode = GPIO_MODE_OUTPUT_PP;
  GPIO_InitStruct.Pull = GPIO_NOPULL;
  GPIO_InitStruct.Speed = GPIO_SPEED_FREQ_LOW;
  HAL_GPIO_Init(GPIOB, &GPIO_InitStruct);

  /*Configure GPIO pin : FL1_Pin */
  GPIO_InitStruct.Pin = FL1_Pin;
  GPIO_InitStruct.Mode = GPIO_MODE_OUTPUT_PP;
  GPIO_InitStruct.Pull = GPIO_NOPULL;
  GPIO_InitStruct.Speed = GPIO_SPEED_FREQ_LOW;
  HAL_GPIO_Init(FL1_GPIO_Port, &GPIO_InitStruct);

}

void Error_Handler(void)
{
    __disable_irq();
    while (1)
    {
    }
}
